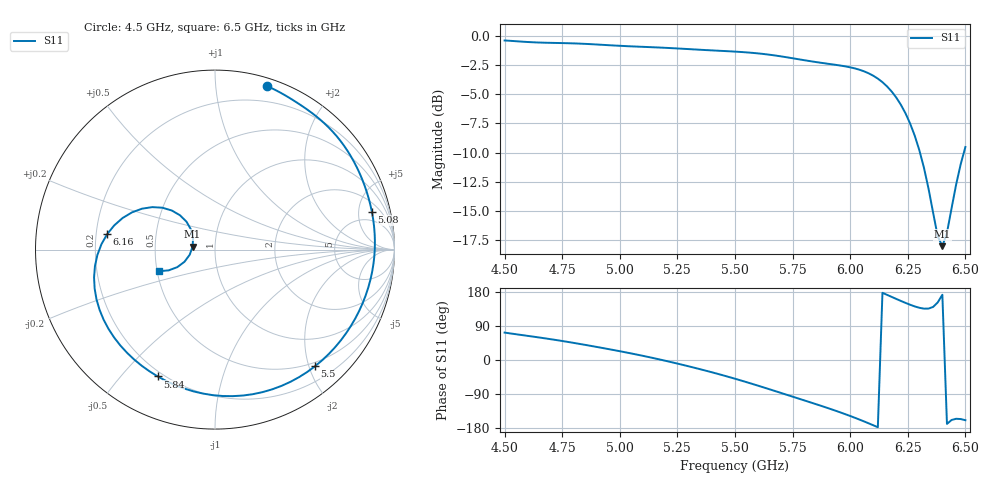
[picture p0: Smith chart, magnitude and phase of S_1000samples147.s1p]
! TOUCHSTONE file generated by CST MICROWAVE STUDIO
! Date and time: Thu Oct 27 03:59:41 2022
! Project name: L.cst
! Parameters = {Di=1.27; Epsilon_r=1.56; InnerDiameter=1.27; Length=2; Lf=10; Lg=60; OuterConductorThickness=0.2921; OuterDiameter=3.6; Wf=3; Wp=41.2; de=1.5; df=6.8; g=0.8; gx=3.03721; gy=0.448713; h=2.34; hf=1.524; px=8.07317; py=9.88239; w=9.7; wx=5.03597; wy=9.43368}
! Header version: 2018
! Port assignment regex: !\s*Touchstone port\s*([0-9]+)\s*=\s*(CST MWS port|CST DS port)\s*([0-9]+|Zmin|Zmax)\s*\(\"(.*)\"\)(\s*mode\s*([0-9]+))?.*
! Touchstone port assignment:
! Touchstone port 1 = CST MWS port 1 ("")
# GHz S DB R 50
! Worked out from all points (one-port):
!   101 points, 4.5 GHz to 6.5 GHz, reference 50 ohm
!   lowest |S11| = -18.0 dB at 6.4 GHz (marker M1), VSWR 1.29, Z = 38.9 + j1.35 ohm
!   |S11| at or under -10 dB: 6.303 GHz to 6.493 GHz (190.5 MHz wide, 2.98 % of centre)
!   S11 on the Smith chart (normalised r, x): 4.5 GHz: 0.07, +1.37; 5.08 GHz: 3.18, +7.00; 5.5 GHz: 0.43, -2.10; 5.84 GHz: 0.18, -0.63; 6.16 GHz: 0.25, +0.07; 6.5 GHz: 0.51, -0.14
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4.5  -0.39 72.3
4.76  -0.62 49.2
4.88  -0.72 36.6
5  -0.85 23.2
5.08  -0.92 13.5
5.18  -1.01 0.4
5.26  -1.09 -10.9
5.38  -1.22 -29.3
5.5  -1.35 -49.4
5.58  -1.46 -64.0
5.64  -1.59 -75.4
5.7  -1.76 -87.0
5.76  -1.95 -98.7
5.84  -2.21 -114.3
5.92  -2.44 -130.4
6  -2.69 -147.8
6.08  -3.21 -167.1
6.12  -3.66 -177.4
6.16  -4.33 171.9
6.22  -5.90 155.8
6.26  -7.50 145.8
6.3  -9.79 137.8
6.34  -13.08 135.6
6.38  -17.17 152.0
6.4  -18.01 172.2
6.42  -16.86 -168.6
6.46  -12.71 -155.1
6.5  -9.52 -158.9
